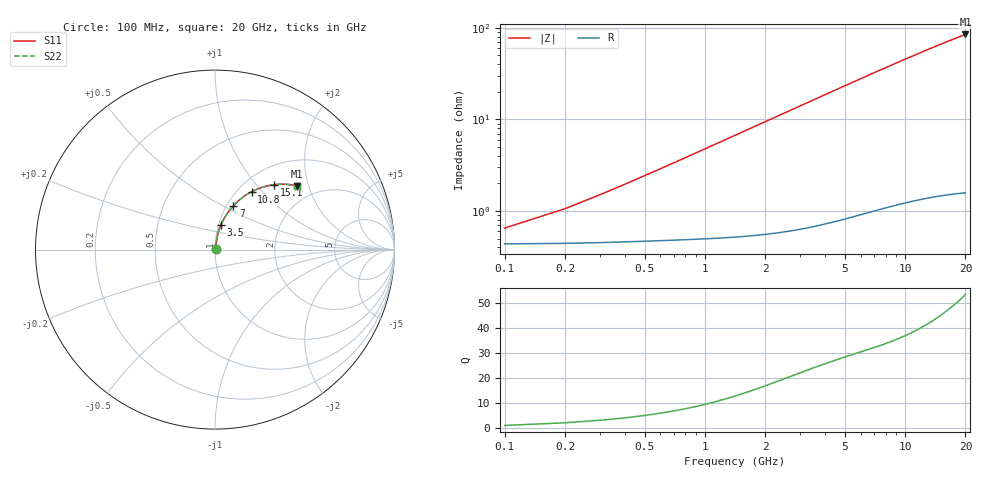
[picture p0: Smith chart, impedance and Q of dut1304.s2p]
! Touchstone file exported from HFSS 2026.1.0
!  File:  C:/ffzhzh/LocalFiles/Ansys_Project_Files/temp_train_BSMRDL_1304_1783178234_55132.aedt
!  Generated:  11:18:35 PM Jul  4, 2026
!  Design:  BSMRDL
!  Project:  temp_train_BSMRDL_1304_1783178234_55132
! Variables:
!  h_bsmrdl = 4.68um
!  h_ox = 20um
!  h_rdl = 5um
!  h_sub = 80um
!  h_tmrdl = 5um
!  h_tsv = 80um
!  h_via = 3um
!  l_bsmrdl = 668.84um
!  l_sub = 1068.84um
!  l_tmrdl = 200um
!  m_sub = 200um
!  pitch = 59.27um
!  r_tsv = 6um
!  s_tmrdl = 10um
!  w_bsmrdl = 11.67um
!  w_sub = 500um
!  w_tmrdl = 12um
!  x_tsv_center1 = 206um
!  x_tsv_center2 = 886.51um
!  x_tsv_center3 = 1098.51um
!  x_tsv_center4 = 1779.02um
!  x_tsv_center5 = 1991.02um
!  x_tsv_center6 = 2671.53um
# GHz S MA R 50.000000
! Terminal data exported
! Port[1] = BSM_RDL1_1_T1
! Port[2] = BSM_RDL1_1_T2
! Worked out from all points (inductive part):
!   200 points, 100 MHz to 20 GHz, reference 50 ohm
!   read as one part in series: L = 760 pH near 300 MHz
!   highest Q = 53.5 at 20 GHz (marker M1), where L = 671 pH
!   S11 on the Smith chart (normalised r, x): 100 MHz: 1.01, +0.01; 3.5 GHz: 1.03, +0.28; 7 GHz: 1.07, +0.56; 10.8 GHz: 1.16, +0.87; 15.1 GHz: 1.31, +1.24; 20 GHz: 1.58, +1.69
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0.1  0.006015 43.3  0.9956 -0.3  0.9956 -0.3  0.006015 43.3
! Gamma 0 0 0 0
! Port Impedance 50 0 50 0
0.2  0.009378 61.3  0.9955 -0.6  0.9955 -0.6  0.009378 61.3
0.3  0.01315 69.1  0.9954 -0.9  0.9954 -0.9  0.01315 69.1
0.4  0.01704 73.2  0.9953 -1.2  0.9953 -1.2  0.01704 73.2
0.5  0.02098 75.6  0.9951 -1.5  0.9951 -1.5  0.02098 75.6
0.6  0.02493 77.2  0.995 -1.9  0.995 -1.9  0.02493 77.2
0.8  0.03286 79.1  0.9946 -2.5  0.9946 -2.5  0.03286 79.1
1.1  0.0448 80.2  0.994 -3.4  0.994 -3.4  0.0448 80.2
1.5  0.06071 80.5  0.993 -4.6  0.993 -4.6  0.06071 80.5
2.1  0.08446 79.8  0.9909 -6.4  0.9909 -6.4  0.08446 79.8
2.7  0.108 78.6  0.9882 -8.2  0.9882 -8.2  0.108 78.6
3.5  0.1388 76.7  0.9837 -10.6  0.9837 -10.6  0.1388 76.7
5  0.1946 72.7  0.9729 -15.0  0.9729 -15.0  0.1946 72.7
6.8  0.2578 67.9  0.9568 -20.0  0.9568 -20.0  0.2578 67.9
7  0.2646 67.3  0.9548 -20.6  0.9548 -20.6  0.2646 67.3
8.5  0.3133 63.4  0.9391 -24.7  0.9391 -24.7  0.3133 63.4
10.1  0.3617 59.4  0.921 -28.8  0.921 -28.8  0.3617 59.4
10.8  0.3816 57.6  0.9127 -30.6  0.9127 -30.6  0.3816 57.6
13.4  0.4494 51.5  0.8809 -36.9  0.8809 -36.9  0.4494 51.5
15.1  0.4884 47.7  0.8599 -40.8  0.8599 -40.8  0.4884 47.7
16.7  0.5215 44.3  0.8404 -44.3  0.8404 -44.3  0.5215 44.3
20  0.5794 37.8  0.8021 -51.0  0.8021 -51.0  0.5794 37.8
